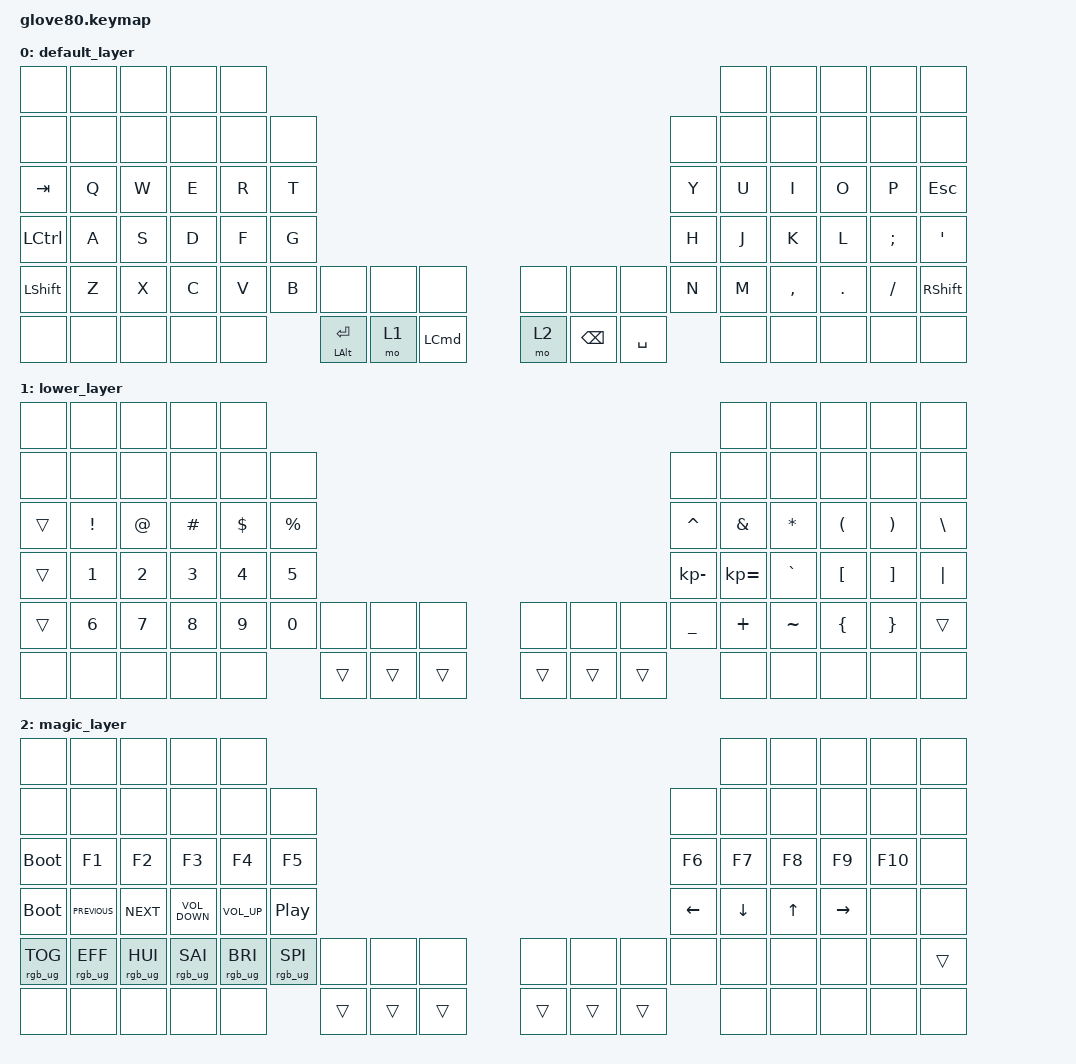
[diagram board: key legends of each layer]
/*
 * Copyright (c) 2020 The ZMK Contributors
 *
 * SPDX-License-Identifier: MIT
 */

#include <behaviors.dtsi>
#include <dt-bindings/zmk/bt.h>
#include <dt-bindings/zmk/keys.h>
#include <dt-bindings/zmk/outputs.h>
#include <dt-bindings/zmk/rgb.h>

#define HYPER LC(LS(LG(LALT)))

// layers

#define DEFAULT 0
#define LOWER 1
#define MAGIC 2
#define FACTORY_TEST 3

/ {
    behaviors {
        // For the "layer" key, it'd nice to be able to use it as either a shift or a toggle.
        // Configure it as a tap dance, so the first tap (or hold) is a &mo and the second tap is a &to

        layer_td: tap_dance_0 {
            compatible = "zmk,behavior-tap-dance";
            label = "LAYER_TAP_DANCE";
            #binding-cells = <0>;
            tapping-term-ms = <200>;
            bindings = <&mo 1>, <&to 1>;
        };

        magic: magic_hold_tap {
            compatible = "zmk,behavior-hold-tap";
            label = "MAGIC_HOLD_TAP";
            #binding-cells = <2>;
            flavor = "tap-preferred";
            tapping-term-ms = <200>;
            bindings = <&mo>, <&rgb_ug_status_macro>;
        };
    };

    macros {
        rgb_ug_status_macro: rgb_ug_status_macro_0 {
            label = "RGB_UG_STATUS";
            compatible = "zmk,behavior-macro";
            #binding-cells = <0>;
            bindings = <&rgb_ug RGB_STATUS>;
        };

        bt_0: bt_profile_macro_0 {
            label = "BT_0";
            compatible = "zmk,behavior-macro";
            #binding-cells = <0>;
            bindings = <&out OUT_BLE &bt BT_SEL 0>;
        };

        bt_1: bt_profile_macro_1 {
            label = "BT_1";
            compatible = "zmk,behavior-macro";
            #binding-cells = <0>;
            bindings = <&out OUT_BLE &bt BT_SEL 1>;
        };

        bt_2: bt_profile_macro_2 {
            label = "BT_2";
            compatible = "zmk,behavior-macro";
            #binding-cells = <0>;
            bindings = <&out OUT_BLE &bt BT_SEL 2>;
        };

        bt_3: bt_profile_macro_3 {
            label = "BT_3";
            compatible = "zmk,behavior-macro";
            #binding-cells = <0>;
            bindings = <&out OUT_BLE &bt BT_SEL 3>;
        };
    };

    keymap {
        compatible = "zmk,keymap";

        default_layer {
            // ---------------------------------------------------------------------------------------------------------------------------------
            // |  F1   |  F2 |  F3 |  F4  |  F5  |                                                               |  F6   |  F7   |  F8  |   F9  |  F10 |
            // |  =    |  1  |  2  |  3   |  4   |  5   |                                                 |  6   |   7   |   8   |  9   |   0   |   -  |
            // |  TAB  |  Q  |  W  |  E   |  R   |  T   |                                                 |  Y   |   U   |   I   |  O   |   P   |   \  |
            // |  ESC  |  A  |  S  |  D   |  F   |  G   |                                                 |  H   |   J   |   K   |  L   |   ;   |   '  |
            // |   `   |  Z  |  X  |  C   |  V   |  B   | LSHFT | LCTRL | LOWER | | LGUI  | RCTRL | RSHFT |  N   |   M   |   ,   |  .   |   /   | PGUP |
            // | MAGIC | HOME| END | LEFT | RIGHT|      | BSPC  | DEL   | LALT  | | RALT  | RET   | SPACE |      |  UP   | DOWN  |  [   |   ]   | PGDN |

            bindings = <
&none             &none  &none  &none  &none                                                                                              &none  &none      &none    &none     &none
&none             &none  &none  &none  &none  &none                                                                                &none  &none  &none      &none    &none     &none
&kp TAB           &kp Q  &kp W  &kp E  &kp R  &kp T                                                                                &kp Y  &kp U  &kp I      &kp O    &kp P     &kp ESC
&kp LEFT_CONTROL  &kp A  &kp S  &kp D  &kp F  &kp G                                                                                &kp H  &kp J  &kp K      &kp L    &kp SEMI  &kp SQT
&kp LEFT_SHIFT    &kp Z  &kp X  &kp C  &kp V  &kp B  &none               &none  &none             &none  &none          &none      &kp N  &kp M  &kp COMMA  &kp DOT  &kp FSLH  &kp RIGHT_SHIFT
&none             &none  &none  &none  &none         &mt LEFT_ALT ENTER  &mo 1  &kp LEFT_COMMAND  &mo 2  &kp BACKSPACE  &kp SPACE         &none  &none      &none    &none     &none
            >;
        };

        lower_layer {
            bindings = <
&none   &none            &none         &none         &none                                                                                       &none          &none         &none                 &none                  &none
&none   &none            &none         &none         &none         &none                                                         &none           &none          &none         &none                 &none                  &none
&trans  &kp EXCLAMATION  &kp AT_SIGN   &kp POUND     &kp DOLLAR    &kp PERCENT                                                   &kp CARET       &kp AMPERSAND  &kp ASTERISK  &kp LEFT_PARENTHESIS  &kp RIGHT_PARENTHESIS  &kp BACKSLASH
&trans  &kp NUMBER_1     &kp NUMBER_2  &kp NUMBER_3  &kp NUMBER_4  &kp NUMBER_5                                                  &kp KP_MINUS    &kp KP_EQUAL   &kp GRAVE     &kp LEFT_BRACKET      &kp RIGHT_BRACKET      &kp PIPE
&trans  &kp NUMBER_6     &kp NUMBER_7  &kp NUMBER_8  &kp NUMBER_9  &kp NUMBER_0  &none   &none   &none   &none   &none   &none   &kp UNDERSCORE  &kp PLUS       &kp TILDE     &kp LEFT_BRACE        &kp RIGHT_BRACE        &trans
&none   &none            &none         &none         &none                       &trans  &trans  &trans  &trans  &trans  &trans                  &none          &none         &none                 &none                  &none
            >;
        };

        magic_layer {
            bindings = <
&none            &none            &none            &none              &none                                                                                       &none           &none         &none            &none    &none
&none            &none            &none            &none              &none            &none                                                            &none     &none           &none         &none            &none    &none
&bootloader      &kp F1           &kp F2           &kp F3             &kp F4           &kp F5                                                           &kp F6    &kp F7          &kp F8        &kp F9           &kp F10  &none
&bootloader      &kp C_PREVIOUS   &kp C_NEXT       &kp C_VOLUME_DOWN  &kp C_VOLUME_UP  &kp C_PP                                                         &kp LEFT  &kp DOWN_ARROW  &kp UP_ARROW  &kp RIGHT_ARROW  &none    &none
&rgb_ug RGB_TOG  &rgb_ug RGB_EFF  &rgb_ug RGB_HUI  &rgb_ug RGB_SAI    &rgb_ug RGB_BRI  &rgb_ug RGB_SPI  &none   &none   &none   &none   &none   &none   &none     &none           &none         &none            &none    &trans
&none            &none            &none            &none              &none                             &trans  &trans  &trans  &trans  &trans  &trans            &none           &none         &none            &none    &none
            >;
        };
    };
};
